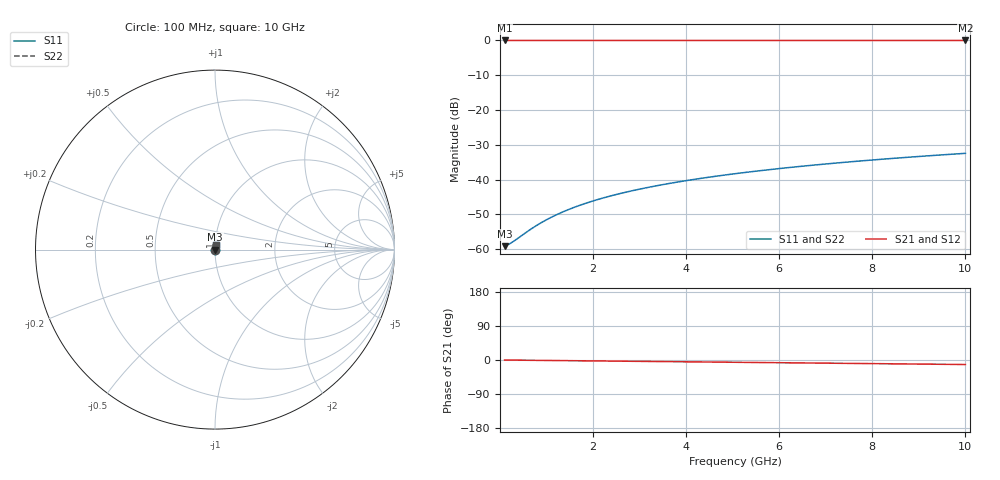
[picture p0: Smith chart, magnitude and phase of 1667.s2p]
# Hz S RI R 50.00
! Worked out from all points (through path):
!   100 points, 100 MHz to 10 GHz, reference 50 ohm
!   highest |S21| = -0.01 dB at 100 MHz (marker M1); lowest = 0.0 dB at 10 GHz (marker M2)
!   group delay of S21, straight-line fit = 3.31 ps
!   lowest |S11| = -59.2 dB at 100 MHz (marker M3), VSWR 1.00, Z = 50.1 + j0.0238 ohm
!   |S11| at or under -10 dB: start of sweep to end of sweep
!   |S22| runs from -59.2 to -32.5 dB; largest |S21 - S12| = 0
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1e8  0.00108 0.000238  0.9989 -0.00207  0.9989 -0.00207  0.00108 0.000238
2e8  0.00108 0.000476  0.9989 -0.00414  0.9989 -0.00414  0.00108 0.000476
3e8  0.00109 0.000713  0.9989 -0.00621  0.9989 -0.00621  0.00109 0.000713
7e8  0.00112 0.00166  0.9988 -0.0145  0.9988 -0.0145  0.00112 0.00166
8e8  0.00113 0.0019  0.9987 -0.0166  0.9987 -0.0166  0.00113 0.0019
1e9  0.00115 0.00238  0.9987 -0.0207  0.9987 -0.0207  0.00115 0.00238
1.2e9  0.00118 0.00285  0.9986 -0.0248  0.9986 -0.0248  0.00118 0.00285
1.4e9  0.0012 0.00332  0.9984 -0.029  0.9984 -0.029  0.0012 0.00332
1.6e9  0.00124 0.0038  0.9983 -0.0331  0.9983 -0.0331  0.00124 0.0038
1.8e9  0.00127 0.00427  0.9982 -0.0373  0.9982 -0.0373  0.00127 0.00427
2.1e9  0.00133 0.00498  0.9979 -0.0435  0.9979 -0.0435  0.00133 0.00498
2.5e9  0.00142 0.00593  0.9975 -0.0518  0.9975 -0.0518  0.00142 0.00593
2.9e9  0.00153 0.00687  0.997 -0.06  0.997 -0.06  0.00153 0.00687
3.4e9  0.00169 0.00804  0.9963 -0.0704  0.9963 -0.0704  0.00169 0.00804
3.8e9  0.00183 0.00898  0.9957 -0.0787  0.9957 -0.0787  0.00183 0.00898
4.2e9  0.00199 0.00991  0.995 -0.0869  0.995 -0.0869  0.00199 0.00991
5.1e9  0.00241 0.012  0.9931 -0.1055  0.9931 -0.1055  0.00241 0.012
5.9e9  0.00284 0.0138  0.9912 -0.1221  0.9912 -0.1221  0.00284 0.0138
6.7e9  0.00334 0.0157  0.989 -0.1386  0.989 -0.1386  0.00334 0.0157
7.5e9  0.00389 0.0175  0.9865 -0.155  0.9865 -0.155  0.00389 0.0175
8.4e9  0.00459 0.0195  0.9833 -0.1736  0.9833 -0.1736  0.00459 0.0195
1e10  0.00603 0.023  0.9768 -0.2063  0.9768 -0.2063  0.00603 0.023
